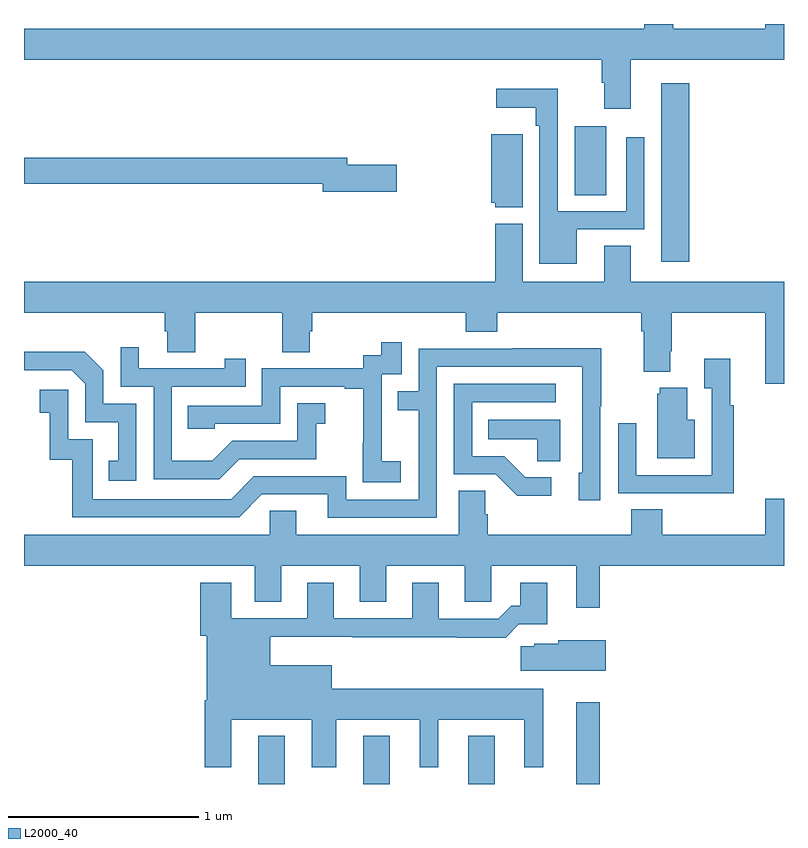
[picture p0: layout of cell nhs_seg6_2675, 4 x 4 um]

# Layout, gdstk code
import gdstk
lib = gdstk.Library(unit=1e-6, precision=1e-09)
def R(c, l, rs):  # rectangles x0, y0, x1, y1
    for r in rs: c.add(gdstk.rectangle(r[:2], r[2:], *l))
def A(c, l, x, y, w, h, nx, ny, dx, dy):  # array of equal rectangles
    R(c, l, [(x+i*dx, y+j*dy, x+i*dx+w, y+j*dy+h) for i in range(nx) for j in range(ny)])
def P(c, l, *ps):  # polygons
    for p in ps: c.add(gdstk.Polygon(p, *l))
L2000_40 = (2000, 40)

nhs_seg6_2675 = lib.new_cell('nhs_seg6_2675')
A(nhs_seg6_2675, L2000_40, 270.233, 967.5, 0.14, 0.253, 3, 1, 0.552, 0)
R(nhs_seg6_2675, L2000_40, [(271.907,967.5,272.029,967.93), (272.354,970.248,272.501,971.188), (271.898,970.6,272.065,970.963)])
P(nhs_seg6_2675, L2000_40, [(272.194,971.312),(273,971.312),(273,971.5),(272.9,971.5),(272.9,971.476),(272.416,971.476),(272.416,971.5),(272.264,971.5),(272.264,971.476),(269,971.476),(269,971.312),(272.042,971.312),(272.042,971.192),(272.054,971.192),(272.054,971.055),(272.194,971.055)],
  [(271.909,970.419),(272.265,970.419),(272.265,970.903),(272.169,970.903),(272.169,970.515),(271.809,970.515),(271.809,971.158),(271.485,971.158),(271.485,971.06),(271.693,971.06),(271.693,970.964),(271.713,970.964),(271.713,970.238),(271.909,970.238)],
  [(271.624,970.921),(271.46,970.921),(271.46,970.56),(271.479,970.56),(271.479,970.535),(271.624,970.535)],
  [(270.961,970.76),(270.7,970.76),(270.7,970.796),(269,970.796),(269,970.66),(270.572,970.66),(270.572,970.618),(270.961,970.618)],
  [(273,970.144),(272.194,970.144),(272.194,970.334),(272.054,970.334),(272.054,970.144),(271.624,970.144),(271.624,970.45),(271.481,970.45),(271.481,970.144),(269,970.144),(269,969.98),(269.741,969.98),(269.741,969.882),(269.753,969.882),(269.753,969.772),(269.901,969.772),(269.901,969.98),(270.358,969.98),(270.358,969.772),(270.505,969.772),(270.505,969.882),(270.518,969.882),(270.518,969.98),(271.325,969.98),(271.325,969.881),(271.49,969.881),(271.49,969.98),(272.249,969.98),(272.249,969.884),(272.261,969.884),(272.261,969.671),(272.401,969.671),(272.401,969.778),(272.409,969.778),(272.409,969.98),(272.9,969.98),(272.9,969.606),(273,969.606)],
  [(270.982,969.199),(270.884,969.199),(270.884,969.428),(270.882,969.428),(270.882,969.657),(270.987,969.657),(270.987,969.826),(270.879,969.826),(270.879,969.756),(270.786,969.756),(270.786,969.687),(270.252,969.687),(270.252,969.492),(269.863,969.492),(269.863,969.369),(270.003,969.369),(270.003,969.396),(270.348,969.396),(270.348,969.591),(270.689,969.591),(270.689,969.579),(270.785,969.579),(270.785,969.295),(270.784,969.295),(270.784,969.089),(270.982,969.089)],
  [(270.133,969.21),(270.537,969.21),(270.537,969.395),(270.586,969.395),(270.586,969.505),(270.438,969.505),(270.438,969.306),(270.096,969.306),(269.992,969.202),(269.778,969.202),(269.778,969.591),(270.167,969.591),(270.167,969.739),(270.056,969.739),(270.056,969.687),(269.605,969.687),(269.605,969.799),(269.508,969.799),(269.508,969.591),(269.682,969.591),(269.682,969.105),(270.028,969.105)],
  [(271.173,969.696),(271.938,969.696),(271.938,969.138),(271.919,969.138),(271.919,968.994),(272.034,968.994),(272.034,969.487),(272.037,969.487),(272.037,969.794),(271.573,969.794),(271.573,969.792),(271.077,969.792),(271.077,969.567),(270.967,969.567),(270.967,969.466),(271.077,969.466),(271.077,968.997),(270.696,968.997),(270.696,969.12),(270.21,969.12),(270.09,969),(269.361,969),(269.361,969.315),(269.232,969.315),(269.232,969.574),(269.082,969.574),(269.082,969.453),(269.135,969.453),(269.135,969.207),(269.253,969.207),(269.253,968.904),(270.132,968.904),(270.252,969.024),(270.599,969.024),(270.599,968.901),(271.173,968.901)],
  [(269.592,969.501),(269.418,969.501),(269.418,969.678),(269.32,969.776),(269,969.776),(269,969.678),(269.25,969.678),(269.322,969.606),(269.322,969.405),(269.495,969.405),(269.495,969.201),(269.446,969.201),(269.446,969.096),(269.592,969.096)],
  [(272.735,969.494),(272.717,969.494),(272.717,969.739),(272.579,969.739),(272.579,969.583),(272.619,969.583),(272.619,969.126),(272.223,969.126),(272.223,969.4),(272.127,969.4),(272.127,969.03),(272.443,969.03),(272.443,969.029),(272.735,969.029)],
  [(271.774,969.114),(271.639,969.114),(271.528,969.225),(271.359,969.225),(271.359,969.51),(271.798,969.51),(271.798,969.606),(271.263,969.606),(271.263,969.129),(271.482,969.129),(271.595,969.017),(271.774,969.017)],
  [(272.53,969.418),(272.491,969.418),(272.491,969.586),(272.345,969.586),(272.345,969.555),(272.333,969.555),(272.333,969.215),(272.53,969.215)],
  [(271.822,969.418),(271.444,969.418),(271.444,969.314),(271.701,969.314),(271.701,969.199),(271.822,969.199)],
  [(272.029,968.648),(273,968.648),(273,969.001),(272.9,969.001),(272.9,968.812),(272.36,968.812),(272.36,968.945),(272.195,968.945),(272.195,968.812),(271.442,968.812),(271.442,968.921),(271.428,968.921),(271.428,969.044),(271.289,969.044),(271.289,968.812),(270.433,968.812),(270.433,968.939),(270.294,968.939),(270.294,968.812),(269,968.812),(269,968.648),(270.215,968.648),(270.215,968.458),(270.355,968.458),(270.355,968.648),(270.767,968.648),(270.767,968.458),(270.907,968.458),(270.907,968.648),(271.319,968.648),(271.319,968.458),(271.458,968.458),(271.458,968.648),(271.907,968.648),(271.907,968.427),(272.029,968.427)],
  [(270.091,967.838),(270.515,967.838),(270.515,967.587),(270.643,967.587),(270.643,967.838),(271.082,967.838),(271.082,967.587),(271.18,967.587),(271.18,967.838),(271.634,967.838),(271.634,967.587),(271.732,967.587),(271.732,968.002),(270.619,968.002),(270.619,968.125),(270.295,968.125),(270.295,968.276),(270.727,968.276),(270.727,968.272),(271.279,968.272),(271.279,968.27),(271.535,968.27),(271.605,968.34),(271.753,968.34),(271.753,968.56),(271.613,968.56),(271.613,968.437),(271.564,968.437),(271.497,968.37),(271.183,968.37),(271.183,968.56),(271.043,968.56),(271.043,968.373),(270.631,968.373),(270.631,968.56),(270.491,968.56),(270.491,968.373),(270.091,968.373),(270.091,968.56),(269.927,968.56),(269.927,968.28),(269.963,968.28),(269.963,967.942),(269.951,967.942),(269.951,967.587),(270.091,967.587)],
  [(272.062,968.257),(271.812,968.257),(271.812,968.239),(271.686,968.239),(271.686,968.225),(271.614,968.225),(271.614,968.096),(272.062,968.096)])

lib.write_gds('nhs_seg6_2675.gds')
